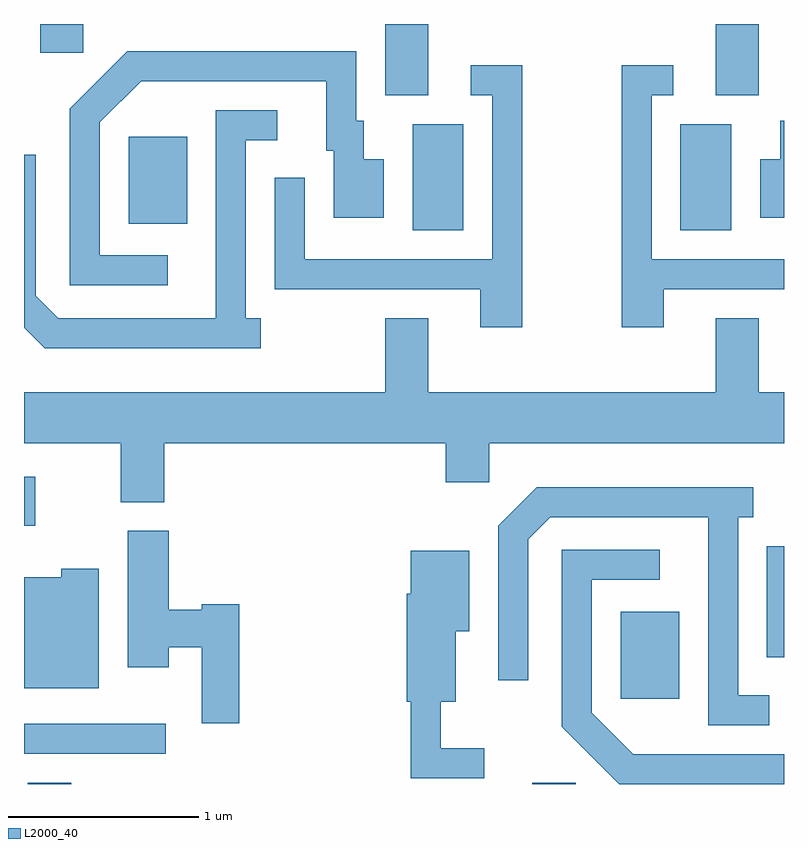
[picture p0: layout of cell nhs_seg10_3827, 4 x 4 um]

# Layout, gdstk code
import gdstk
lib = gdstk.Library(unit=1e-6, precision=1e-09)
def R(c, l, rs):  # rectangles x0, y0, x1, y1
    for r in rs: c.add(gdstk.rectangle(r[:2], r[2:], *l))
def P(c, l, *ps):  # polygons
    for p in ps: c.add(gdstk.Polygon(p, *l))
L2000_40 = (2000, 40)

nhs_seg10_3827 = lib.new_cell('nhs_seg10_3827')
R(nhs_seg10_3827, L2000_40, [(297.631,2156.522,297.859,2156.529), (300.286,2156.522,300.514,2156.529), (297.611,2156.681,298.358,2156.839), (300.751,2156.971,301.059,2157.429), (301.521,2157.188,301.611,2157.774), (297.611,2157.881,297.669,2158.139), (299.656,2159.436,299.924,2159.994), (301.066,2159.436,301.334,2159.994), (298.161,2159.471,298.469,2159.929), (299.511,2160.146,299.739,2160.522), (301.251,2160.146,301.479,2160.522), (297.696,2160.371,297.924,2160.522)])
P(nhs_seg10_3827, L2000_40, [(298.368,2159.304),(298.009,2159.304),(298.009,2160.004),(298.227,2160.221),(299.201,2160.221),(299.201,2159.856),(299.241,2159.856),(299.241,2159.501),(299.504,2159.501),(299.504,2159.809),(299.399,2159.809),(299.399,2160.014),(299.359,2160.014),(299.359,2160.379),(298.154,2160.379),(297.851,2160.077),(297.851,2159.146),(298.368,2159.146)],
  [(300.979,2159.126),(301.611,2159.126),(301.611,2159.284),(300.914,2159.284),(300.914,2160.146),(301.028,2160.146),(301.028,2160.304),(300.756,2160.304),(300.756,2158.926),(300.979,2158.926)],
  [(300.234,2160.304),(299.963,2160.304),(299.963,2160.146),(300.076,2160.146),(300.076,2159.284),(299.089,2159.284),(299.089,2159.713),(298.931,2159.713),(298.931,2159.126),(300.011,2159.126),(300.011,2158.926),(300.234,2158.926)],
  [(298.858,2158.974),(298.779,2158.974),(298.779,2159.911),(298.943,2159.911),(298.943,2160.069),(298.621,2160.069),(298.621,2158.974),(297.792,2158.974),(297.674,2159.092),(297.674,2159.833),(297.611,2159.833),(297.611,2158.924),(297.719,2158.816),(298.858,2158.816)],
  [(301.611,2160.014),(301.591,2160.014),(301.591,2159.809),(301.486,2159.809),(301.486,2159.501),(301.611,2159.501)],
  [(298.349,2158.316),(299.831,2158.316),(299.831,2158.111),(300.059,2158.111),(300.059,2158.316),(301.611,2158.316),(301.611,2158.584),(301.479,2158.584),(301.479,2158.974),(301.251,2158.974),(301.251,2158.584),(299.739,2158.584),(299.739,2158.974),(299.511,2158.974),(299.511,2158.584),(297.611,2158.584),(297.611,2158.316),(298.121,2158.316),(298.121,2158.006),(298.349,2158.006)],
  [(301.533,2156.989),(301.369,2156.989),(301.369,2157.926),(301.448,2157.926),(301.448,2158.084),(300.309,2158.084),(300.106,2157.882),(300.106,2157.068),(300.264,2157.068),(300.264,2157.809),(300.382,2157.926),(301.211,2157.926),(301.211,2156.831),(301.533,2156.831)],
  [(298.744,2157.469),(298.546,2157.469),(298.546,2157.439),(298.374,2157.439),(298.374,2157.854),(298.156,2157.854),(298.156,2157.136),(298.374,2157.136),(298.374,2157.241),(298.546,2157.241),(298.546,2156.841),(298.744,2156.841)],
  [(301.611,2156.679),(300.817,2156.679),(300.599,2156.897),(300.599,2157.596),(300.958,2157.596),(300.958,2157.754),(300.441,2157.754),(300.441,2156.824),(300.743,2156.522),(301.611,2156.522)],
  [(300.033,2156.709),(299.804,2156.709),(299.804,2156.956),(299.884,2156.956),(299.884,2157.326),(299.954,2157.326),(299.954,2157.749),(299.646,2157.749),(299.646,2157.524),(299.626,2157.524),(299.626,2156.956),(299.646,2156.956),(299.646,2156.551),(300.033,2156.551)],
  [(298.004,2157.654),(297.806,2157.654),(297.806,2157.609),(297.611,2157.609),(297.611,2157.026),(298.004,2157.026)])

lib.write_gds('nhs_seg10_3827.gds')
